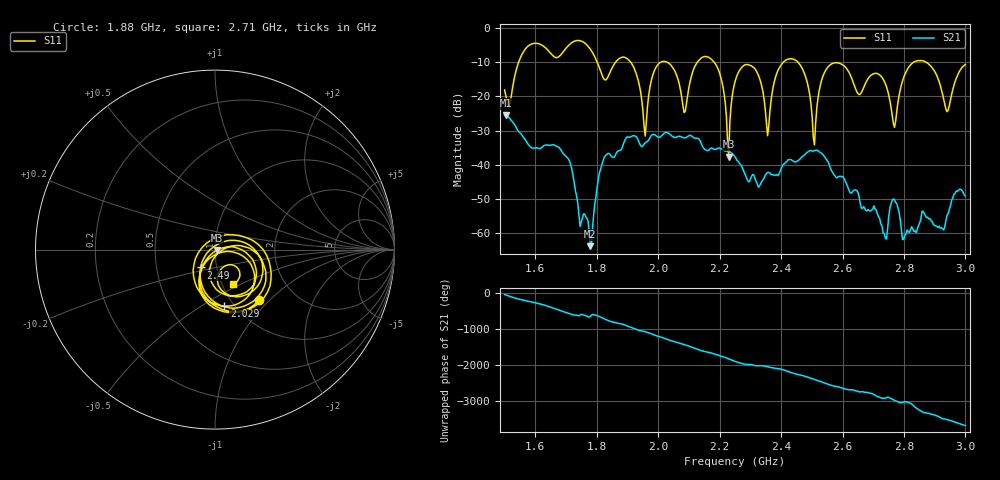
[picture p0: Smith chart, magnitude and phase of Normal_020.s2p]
# HZ S RI R 50
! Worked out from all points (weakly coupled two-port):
!   404 points, 1.5 GHz to 3 GHz, reference 50 ohm
!   highest |S21| = -25.53 dB at 1.504 GHz (marker M1); lowest = -63.9 dB at 1.779 GHz (marker M2)
!   lowest |S11| = -37.7 dB at 2.23 GHz (marker M3), VSWR 1.03, Z = 51.3 - j0.172 ohm
!   |S11| at or under -10 dB: 2.183 GHz to 2.407 GHz (224.2 MHz wide, 9.77 % of centre); 2.456 GHz to 2.83 GHz (374.8 MHz wide, 14.2 % of centre); 2.873 GHz to end of sweep (the widest 3 of 7)
!   S12 and S22 are empty: the file has one direction only
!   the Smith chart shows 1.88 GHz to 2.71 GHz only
!   S11 on the Smith chart (normalised r, x): 1.88 GHz: 1.32, -0.87; 2.029 GHz: 0.90, -0.63; 2.49 GHz: 0.84, -0.17; 2.71 GHz: 1.12, -0.46
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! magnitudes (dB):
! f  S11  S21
! 1.5 GHz  -18.1  -25.6
! 1.504 GHz  -19.6  -25.5
! 1.705 GHz  -5.3  -38.0
! 1.753 GHz  -3.9  -55.8
! 1.779 GHz  -6.1  -63.9
! 1.82 GHz  -14.4  -39.0
! 1.88 GHz  -8.6  -35.6
! 1.958 GHz  -31.6  -33.6
! 2.002 GHz  -10.3  -32.0
! 2.029 GHz  -9.9  -30.5
! 2.084 GHz  -24.7  -32.2
! 2.177 GHz  -9.5  -35.3
! 2.23 GHz  -37.7  -36.1
! 2.252 GHz  -15.1  -38.0
! 2.356 GHz  -31.5  -42.3
! 2.412 GHz  -9.6  -39.7
! 2.49 GHz  -17.9  -36.1
! 2.501 GHz  -26.1  -36.0
! 2.561 GHz  -10.6  -41.1
! 2.71 GHz  -13.2  -53.3
! 2.751 GHz  -19.7  -55.1
! 3 GHz  -10.6  -49.2
